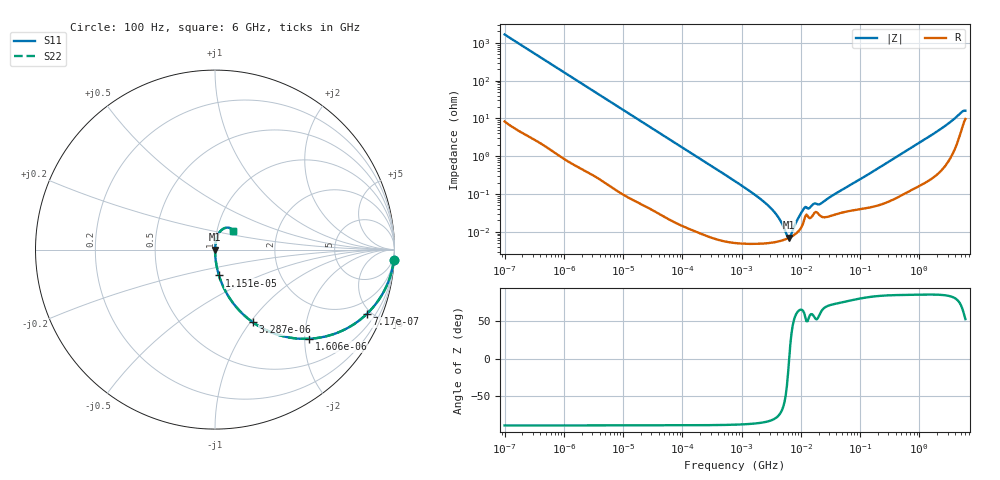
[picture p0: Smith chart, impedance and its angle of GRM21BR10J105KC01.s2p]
!Murata Part Number: GRM21BR10J105KC01
!These Parameters are Measured in Series Mode Connection
!Data Generated on Mar 30, 2021
!  o--ll--o
!Port1  Port2
!  o------o
!Operation Temp=25[degC], DC Bias Voltage=0[V]
!Freq. Start=100[Hz] Stop=6[GHz] 401[Steps]
# Hz S RI R 50
!Freq.(Hz) S11(Real) S11(Imag) S21(Real) S21(Imag) S12(Real) S12(Imag) S22(Real) S22(Imag)
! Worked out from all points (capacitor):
!   401 points, 100 Hz to 6 GHz, reference 50 ohm
!   read as one part in series: C = 954 nF near 109 Hz
!   lowest |Z| = 6.95 mohm at 6.353 MHz (marker M1)
!   series resonance near 6.36 MHz, so ESL is about 660 pH
!   S11 on the Smith chart (normalised r, x): 100 Hz: 1, -33; 717 Hz: 1.02, -4.68; 1.606 kHz: 1.01, -2.09; 3.287 kHz: 1.01, -1.03; 11.51 kHz: 1.00, -0.29; 6 GHz: 1.19, +0.26
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100  0.9961 -0.0597  0.00388 0.0597  0.00388 0.0597  0.9961 -0.0597
335  0.9605 -0.1921  0.0395 0.1921  0.0395 0.1921  0.9605 -0.1921
717  0.8442 -0.3601  0.1558 0.3601  0.1558 0.3601  0.8442 -0.3601
1606  0.5229 -0.4969  0.4771 0.4969  0.4771 0.4969  0.5229 -0.4969
2008  0.4129 -0.4896  0.5871 0.4896  0.5871 0.4896  0.4129 -0.4896
3287  0.2096 -0.4042  0.7904 0.4042  0.7904 0.4042  0.2096 -0.4042
5625  0.0841 -0.2746  0.9159 0.2746  0.9159 0.2746  0.0841 -0.2746
11514  0.022 -0.1437  0.978 0.1437  0.978 0.1437  0.022 -0.1437
40335  0.00207 -0.0421  0.9979 0.0421  0.9979 0.0421  0.00207 -0.0421
774597  5.52e-05 -0.00219  0.9999 0.00219  0.9999 0.00219  5.52e-05 -0.00219
2837864  5.04e-05 -0.000487  0.9999 0.000487  0.9999 0.000487  5.04e-05 -0.000487
4060267  5.5e-05 -0.000252  0.9999 0.000252  0.9999 0.000252  5.5e-05 -0.000252
5554849  6.35e-05 -7.44e-05  0.9999 7.44e-05  0.9999 7.44e-05  6.35e-05 -7.44e-05
6353432  6.95e-05 -6e-07  0.9999 6e-07  0.9999 6e-07  6.95e-05 -6e-07
7266822  7.77e-05 7.43e-05  0.9999 -7.43e-05  0.9999 -7.43e-05  7.77e-05 7.43e-05
1.087309e7  0.000164 0.000341  0.9998 -0.000341  0.9998 -0.000341  0.000164 0.000341
1.555665e7  0.000258 0.000438  0.9997 -0.000438  0.9997 -0.000438  0.000258 0.000438
2.225763e7  0.000253 0.000511  0.9997 -0.000511  0.9997 -0.000511  0.000253 0.000511
3.124326e8  0.000692 0.00729  0.9993 -0.00729  0.9993 -0.00729  0.000692 0.00729
3.205649e9  0.0135 0.0745  0.9865 -0.0745  0.9865 -0.0745  0.0135 0.0745
5.016141e9  0.0568 0.1208  0.9432 -0.1208  0.9432 -0.1208  0.0568 0.1208
6e9  0.1 0.1048  0.9 -0.1048  0.9 -0.1048  0.1 0.1048
